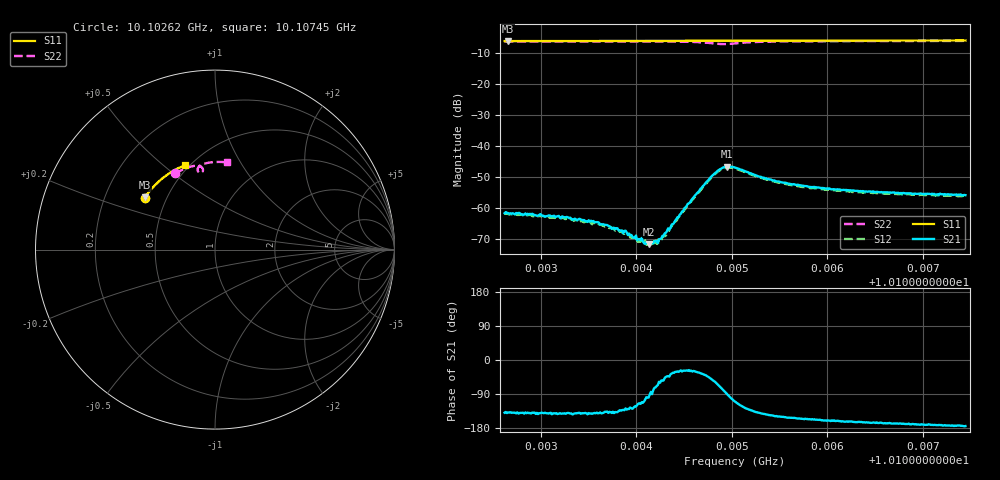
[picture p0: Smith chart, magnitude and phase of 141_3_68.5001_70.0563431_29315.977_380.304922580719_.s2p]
#  HZ  S  RI  R  50.00
! Rohde & Schwarz Vector Network Analyzer
! Rohde-Schwarz,ZNB20-2Port,1311601062101988,3.16
! Created: UTC 3/20/2024, 5:10:02 PM
! freq[Hz]  re:S11  im:S11  re:S21  im:S21  re:S12  im:S12  re:S22  im:S22
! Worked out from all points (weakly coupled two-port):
!   401 points, 10.10262 GHz to 10.10745 GHz, reference 50 ohm
!   highest |S21| = -46.63 dB at 10.10495 GHz (marker M1); lowest = -71.6 dB at 10.10413 GHz (marker M2)
!   lowest |S11| = -6.3 dB at 10.10265 GHz (marker M3), VSWR 2.90, Z = 18.9 + j14.4 ohm
!   |S11| at or under -10 dB: nowhere
!   |S22| runs from -7.2 to -6.2 dB; largest |S21 - S12| = 0.00048
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1.0102618e10  -0.3913 0.2897  -0.000622 -0.000542  -0.000567 -0.000592  -0.222 0.4246
1.0102654e10  -0.3899 0.2914  -0.000621 -0.000549  -0.000576 -0.000561  -0.2198 0.4258
1.0103029e10  -0.3767 0.3102  -0.000574 -0.000471  -0.000539 -0.000519  -0.198 0.4375
1.0103246e10  -0.3689 0.3207  -0.000549 -0.000447  -0.000494 -0.00045  -0.185 0.4437
1.0103427e10  -0.3619 0.3292  -0.000497 -0.000409  -0.000445 -0.000427  -0.1739 0.4487
1.0103572e10  -0.3562 0.3359  -0.000457 -0.000374  -0.000414 -0.0004  -0.1645 0.4525
1.0103813e10  -0.3465 0.3468  -0.000307 -0.000306  -0.000284 -0.00035  -0.1488 0.4581
1.0103898e10  -0.3429 0.3508  -0.000264 -0.000305  -0.000218 -0.00033  -0.143 0.4601
1.0104031e10  -0.3374 0.3565  -0.00013 -0.000288  -0.000102 -0.000278  -0.1337 0.4626
1.0104103e10  -0.3344 0.3595  -4.15e-05 -0.00028  -2.2e-05 -0.000257  -0.1281 0.464
1.0104127e10  -0.3332 0.3606  -4.12e-05 -0.00026  -2.21e-05 -0.000273  -0.1263 0.4645
1.0104236e10  -0.3285 0.3654  0.000169 -0.000265  0.000162 -0.000223  -0.1179 0.4662
1.0104369e10  -0.3228 0.3709  0.000439 -0.000315  0.000427 -0.000273  -0.1067 0.4675
1.0104586e10  -0.3132 0.38  0.00121 -0.000708  0.00124 -0.000537  -0.0851 0.4652
1.0104779e10  -0.3041 0.3875  0.00206 -0.00238  0.00218 -0.00208  -0.0672 0.4475
1.0104876e10  -0.2998 0.3911  0.0014 -0.00398  0.0017 -0.00368  -0.0718 0.4317
1.0104948e10  -0.2964 0.3939  -1.08e-05 -0.00466  0.000409 -0.00443  -0.0845 0.4282
1.0105032e10  -0.2926 0.3971  -0.00151 -0.00422  -0.00108 -0.00419  -0.0955 0.437
1.0105419e10  -0.2742 0.4115  -0.00233 -0.00157  -0.0021 -0.0017  -0.0751 0.4727
1.0105841e10  -0.253 0.4261  -0.00198 -0.000879  -0.00184 -0.00099  -0.043 0.4828
1.010665e10  -0.2106 0.4506  -0.00172 -0.000424  -0.00161 -0.000541  0.0124 0.4884
1.0107447e10  -0.1668 0.4704  -0.0016 -0.00016  -0.00153 -0.000305  0.0645 0.4866
